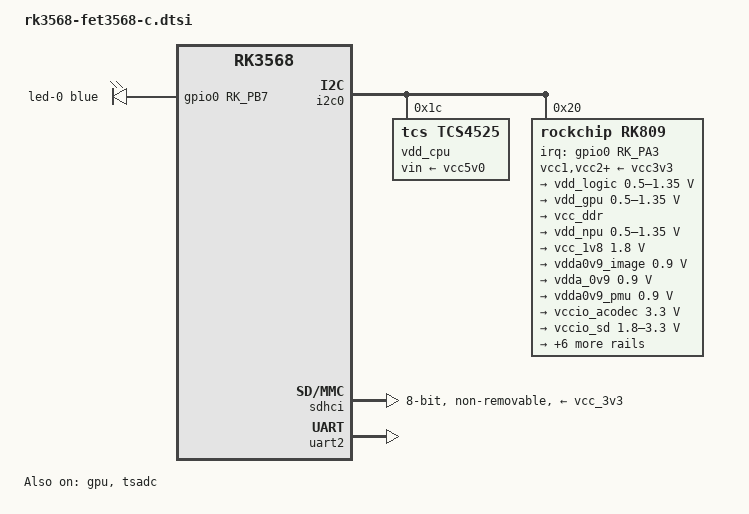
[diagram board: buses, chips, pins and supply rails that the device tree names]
// SPDX-License-Identifier: (GPL-2.0+ OR MIT)

/dts-v1/;

#include <dt-bindings/gpio/gpio.h>
#include "rk3568.dtsi"

/ {
	compatible = "forlinx,fet3568-c", "rockchip,rk3568";

	aliases {
		mmc0 = &sdhci;
	};

	chosen: chosen {
		stdout-path = "serial2:1500000n8";
	};

	leds {
		compatible = "gpio-leds";

		led-0 {
			color = <LED_COLOR_ID_BLUE>;
			default-state = "on";
			function = LED_FUNCTION_HEARTBEAT;
			gpios = <&gpio0 RK_PB7 GPIO_ACTIVE_HIGH>;
			linux,default-trigger = "heartbeat";
			pinctrl-names = "default";
			pinctrl-0 = <&led0_pin>;
		};
	};
};

&cpu0 {
	cpu-supply = <&vdd_cpu>;
};

&cpu1 {
	cpu-supply = <&vdd_cpu>;
};

&cpu2 {
	cpu-supply = <&vdd_cpu>;
};

&cpu3 {
	cpu-supply = <&vdd_cpu>;
};

&gpu {
	mali-supply = <&vdd_gpu>;
	status = "okay";
};

&i2c0 {
	status = "okay";

	vdd_cpu: regulator@1c {
		compatible = "tcs,tcs4525";
		reg = <0x1c>;
		fcs,suspend-voltage-selector = <1>;
		regulator-name = "vdd_cpu";
		regulator-always-on;
		regulator-boot-on;
		regulator-min-microvolt = <800000>;
		regulator-max-microvolt = <1150000>;
		regulator-ramp-delay = <2300>;
		vin-supply = <&vcc5v0>;

		regulator-state-mem {
			regulator-off-in-suspend;
		};
	};

	rk809: pmic@20 {
		compatible = "rockchip,rk809";
		reg = <0x20>;
		assigned-clocks = <&cru I2S1_MCLKOUT_TX>;
		assigned-clock-parents = <&cru CLK_I2S1_8CH_TX>;
		#clock-cells = <1>;
		clocks = <&cru I2S1_MCLKOUT_TX>;
		clock-names = "mclk";
		clock-output-names = "rk809-clkout1", "rk809-clkout2";
		interrupt-parent = <&gpio0>;
		interrupts = <RK_PA3 IRQ_TYPE_LEVEL_LOW>;
		pinctrl-names = "default";
		pinctrl-0 = <&pmic_int>, <&i2s1m0_mclk>;
		#sound-dai-cells = <0>;
		system-power-controller;
		wakeup-source;

		vcc1-supply = <&vcc3v3>;
		vcc2-supply = <&vcc3v3>;
		vcc3-supply = <&vcc3v3>;
		vcc4-supply = <&vcc3v3>;
		vcc5-supply = <&vcc3v3>;
		vcc6-supply = <&vcc3v3>;
		vcc7-supply = <&vcc3v3>;
		vcc8-supply = <&vcc3v3>;
		vcc9-supply = <&vcc3v3>;

		regulators {
			vdd_logic: DCDC_REG1 {
				regulator-name = "vdd_logic";
				regulator-always-on;
				regulator-boot-on;
				regulator-initial-mode = <0x2>;
				regulator-min-microvolt = <500000>;
				regulator-max-microvolt = <1350000>;
				regulator-ramp-delay = <6001>;

				regulator-state-mem {
					regulator-off-in-suspend;
				};
			};

			vdd_gpu: DCDC_REG2 {
				regulator-name = "vdd_gpu";
				regulator-always-on;
				regulator-boot-on;
				regulator-initial-mode = <0x2>;
				regulator-min-microvolt = <500000>;
				regulator-max-microvolt = <1350000>;
				regulator-ramp-delay = <6001>;

				regulator-state-mem {
					regulator-off-in-suspend;
				};
			};

			vcc_ddr: DCDC_REG3 {
				regulator-name = "vcc_ddr";
				regulator-always-on;
				regulator-boot-on;
				regulator-initial-mode = <0x2>;

				regulator-state-mem {
					regulator-on-in-suspend;
				};
			};

			vdd_npu: DCDC_REG4 {
				regulator-name = "vdd_npu";
				regulator-initial-mode = <0x2>;
				regulator-min-microvolt = <500000>;
				regulator-max-microvolt = <1350000>;
				regulator-ramp-delay = <6001>;

				regulator-state-mem {
					regulator-off-in-suspend;
				};
			};

			vcc_1v8: DCDC_REG5 {
				regulator-name = "vcc_1v8";
				regulator-always-on;
				regulator-boot-on;
				regulator-min-microvolt = <1800000>;
				regulator-max-microvolt = <1800000>;

				regulator-state-mem {
					regulator-off-in-suspend;
				};
			};

			vdda0v9_image: LDO_REG1 {
				regulator-name = "vdda0v9_image";
				regulator-min-microvolt = <900000>;
				regulator-max-microvolt = <900000>;

				regulator-state-mem {
					regulator-off-in-suspend;
				};
			};

			vdda_0v9: LDO_REG2 {
				regulator-name = "vdda_0v9";
				regulator-always-on;
				regulator-boot-on;
				regulator-min-microvolt = <900000>;
				regulator-max-microvolt = <900000>;

				regulator-state-mem {
					regulator-off-in-suspend;
				};
			};

			vdda0v9_pmu: LDO_REG3 {
				regulator-name = "vdda0v9_pmu";
				regulator-always-on;
				regulator-boot-on;
				regulator-min-microvolt = <900000>;
				regulator-max-microvolt = <900000>;

				regulator-state-mem {
					regulator-on-in-suspend;
					regulator-suspend-microvolt = <900000>;
				};
			};

			vccio_acodec: LDO_REG4 {
				regulator-name = "vccio_acodec";
				regulator-always-on;
				regulator-boot-on;
				regulator-min-microvolt = <3300000>;
				regulator-max-microvolt = <3300000>;

				regulator-state-mem {
					regulator-off-in-suspend;
				};
			};

			vccio_sd: LDO_REG5 {
				regulator-name = "vccio_sd";
				regulator-always-on;
				regulator-boot-on;
				regulator-min-microvolt = <1800000>;
				regulator-max-microvolt = <3300000>;

				regulator-state-mem {
					regulator-off-in-suspend;
				};
			};

			vcc3v3_pmu: LDO_REG6 {
				regulator-name = "vcc3v3_pmu";
				regulator-always-on;
				regulator-boot-on;
				regulator-min-microvolt = <3300000>;
				regulator-max-microvolt = <3300000>;

				regulator-state-mem {
					regulator-on-in-suspend;
					regulator-suspend-microvolt = <3300000>;
				};
			};

			vcca_1v8: LDO_REG7 {
				regulator-name = "vcca_1v8";
				regulator-always-on;
				regulator-boot-on;
				regulator-min-microvolt = <1800000>;
				regulator-max-microvolt = <1800000>;

				regulator-state-mem {
					regulator-off-in-suspend;
				};
			};

			vcca1v8_pmu: LDO_REG8 {
				regulator-name = "vcca1v8_pmu";
				regulator-always-on;
				regulator-boot-on;
				regulator-min-microvolt = <1800000>;
				regulator-max-microvolt = <1800000>;

				regulator-state-mem {
					regulator-on-in-suspend;
					regulator-suspend-microvolt = <1800000>;
				};
			};

			vcca1v8_image: LDO_REG9 {
				regulator-name = "vcca1v8_image";
				regulator-min-microvolt = <1800000>;
				regulator-max-microvolt = <1800000>;

				regulator-state-mem {
					regulator-off-in-suspend;
				};
			};

			vcc_3v3: SWITCH_REG1 {
				regulator-name = "vcc_3v3";
				regulator-always-on;
				regulator-boot-on;

				regulator-state-mem {
					regulator-off-in-suspend;
				};
			};

			vcc3v3_sd: SWITCH_REG2 {
				regulator-name = "vcc3v3_sd";
				regulator-always-on;
				regulator-boot-on;

				regulator-state-mem {
					regulator-off-in-suspend;
				};
			};
		};
	};
};

&pinctrl {
	leds {
		led0_pin: led0-pin {
			rockchip,pins = <0 RK_PB7 RK_FUNC_GPIO &pcfg_pull_none>;
		};
	};

	pmic {
		pmic_int: pmic-int {
			rockchip,pins = <0 RK_PA3 RK_FUNC_GPIO &pcfg_pull_up>;
		};
	};
};

&sdhci {
	bus-width = <8>;
	cap-mmc-highspeed;
	max-frequency = <200000000>;
	mmc-hs200-1_8v;
	non-removable;
	pinctrl-names = "default";
	pinctrl-0 = <&emmc_bus8 &emmc_clk &emmc_cmd &emmc_datastrobe>;
	vmmc-supply = <&vcc_3v3>;
	vqmmc-supply = <&vcc_1v8>;
	status = "okay";
};

&tsadc {
	rockchip,hw-tshut-mode = <0>;
	rockchip,hw-tshut-polarity = <0>;
	status = "okay";
};

&uart2 {
	status = "okay";
};
